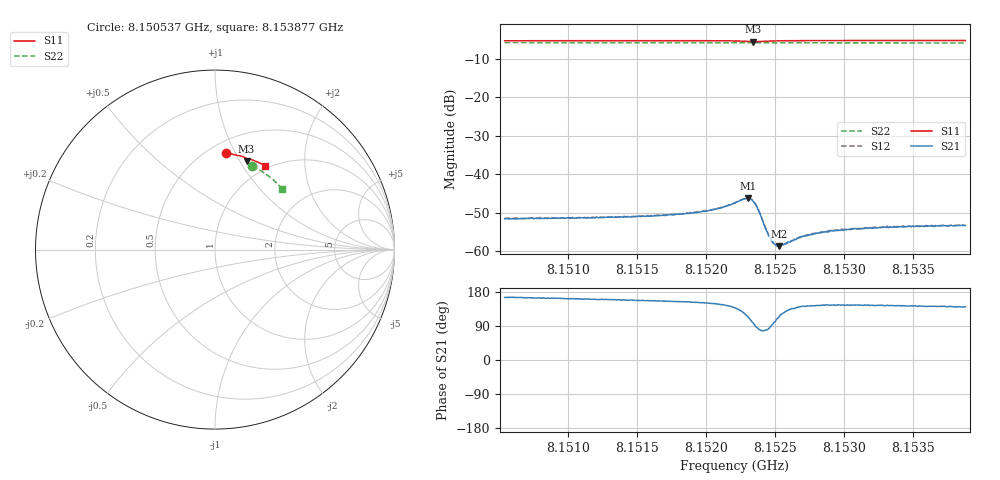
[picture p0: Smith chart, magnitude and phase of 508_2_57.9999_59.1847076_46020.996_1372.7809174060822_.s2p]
#  HZ  S  RI  R  50.00
! Rohde & Schwarz Vector Network Analyzer
! Rohde-Schwarz,ZNB20-2Port,1311601062101988,3.16
! Created: UTC 3/21/2024, 1:13:04 AM
! freq[Hz]  re:S11  im:S11  re:S21  im:S21  re:S12  im:S12  re:S22  im:S22
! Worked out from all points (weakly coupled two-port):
!   401 points, 8.150537 GHz to 8.153877 GHz, reference 50 ohm
!   highest |S21| = -46.23 dB at 8.152299 GHz (marker M1); lowest = -58.6 dB at 8.152525 GHz (marker M2)
!   lowest |S11| = -5.6 dB at 8.152341 GHz (marker M3), VSWR 3.20, Z = 39.3 + j53.5 ohm
!   |S11| at or under -10 dB: nowhere
!   |S22| runs from -5.9 to -5.9 dB; largest |S21 - S12| = 0.00011
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8.1505374e9  0.0598 0.5357  -0.00258 0.000682  -0.00259 0.000702  0.2077 0.4653
8.1510968e9  0.0988 0.5307  -0.00259 0.00091  -0.00259 0.000974  0.2398 0.4489
8.1516563e9  0.1376 0.5227  -0.00266 0.00119  -0.00267 0.00124  0.2702 0.4303
8.152007e9  0.1628 0.5151  -0.0029 0.00165  -0.00291 0.00171  0.2886 0.4174
8.1521072e9  0.1705 0.5117  -0.00307 0.00205  -0.00307 0.00212  0.2938 0.4136
8.1522074e9  0.1785 0.506  -0.00313 0.00287  -0.00311 0.00295  0.299 0.4095
8.1522658e9  0.1815 0.5  -0.00277 0.00385  -0.00279 0.00391  0.3017 0.4071
8.1522992e9  0.1807 0.4958  -0.00203 0.00444  -0.002 0.0045  0.3031 0.4058
8.1523159e9  0.1793 0.4941  -0.00145 0.0046  -0.00143 0.00463  0.3039 0.4051
8.152341e9  0.1761 0.4935  -0.000482 0.00441  -0.000423 0.00447  0.305 0.4042
8.1523744e9  0.1731 0.4963  0.00043 0.00349  0.000495 0.00354  0.3065 0.4031
8.1524328e9  0.1756 0.5027  0.000375 0.00188  0.000437 0.00191  0.3094 0.401
8.1524662e9  0.179 0.5045  2.69e-05 0.00145  9.57e-05 0.00142  0.3112 0.3997
8.1524996e9  0.1825 0.5052  -0.000257 0.00121  -0.000268 0.00121  0.3129 0.3984
8.1525247e9  0.185 0.5053  -0.000455 0.00108  -0.000474 0.0011  0.3141 0.3975
8.1525664e9  0.1889 0.5052  -0.000739 0.00101  -0.000711 0.00101  0.3161 0.3958
8.1526833e9  0.1985 0.5031  -0.00119 0.000979  -0.00118 0.000964  0.3219 0.3909
8.1527668e9  0.2046 0.5012  -0.00131 0.001  -0.00138 0.00101  0.3261 0.3876
8.1529338e9  0.2165 0.497  -0.00152 0.00106  -0.00153 0.00109  0.3339 0.3803
8.1530841e9  0.2265 0.493  -0.00163 0.00113  -0.0016 0.00117  0.3409 0.3738
8.1533263e9  0.2421 0.4859  -0.00166 0.00122  -0.00164 0.00125  0.3517 0.3631
8.1538774e9  0.2764 0.4684  -0.00168 0.00138  -0.00169 0.00141  0.3752 0.3374
